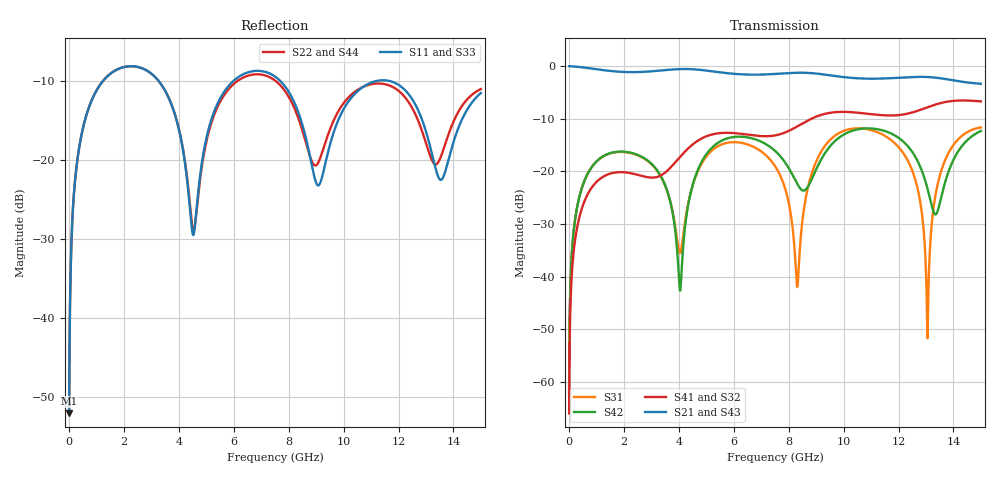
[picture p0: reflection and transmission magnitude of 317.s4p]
! Created with skrf 1.8.0 (http://scikit-rf.org).
# GHz S RI R 50.0
!freq ReS11 ImS11 ReS12 ImS12 ReS13 ImS13
! ReS14 ImS14
! ReS21 ImS21 ReS22 ImS22 ReS23 ImS23
! ReS24 ImS24
! ReS31 ImS31 ReS32 ImS32 ReS33 ImS33
! ReS34 ImS34
! ReS41 ImS41 ReS42 ImS42 ReS43 ImS43
! ReS44 ImS44
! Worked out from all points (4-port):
!   2499 points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, 5 MHz to 15 GHz, reference 50 ohm
!   strongest paths, dB at 5 MHz, 3.476 GHz, 7.19 GHz, 11.1 GHz, 15 GHz:
!     S21: 0.0, -0.8, -1.6, -2.4, -3.4
!     S43: 0.0, -0.8, -1.6, -2.4, -3.4
!     S41: -66.0, -20.3, -13.3, -9.2, -6.7
!     S32: -66.0, -20.3, -13.3, -9.2, -6.7
!     S42: -62.0, -22.3, -14.9, -11.9, -12.3
!     S31: -62.0, -22.4, -17.0, -12.3, -11.7
!   lowest |S11| = -52.1 dB at 5 MHz (marker M1), VSWR 1.00, Z = 50.2 + j0.151 ohm
!   |S11| at or under -10 dB: 3.273 GHz to 5.977 GHz (2.704 GHz wide, 58.5 % of centre); 7.705 GHz to 11.16 GHz (3.45 GHz wide, 36.6 % of centre); 11.71 GHz to end of sweep (the widest 3 of 4)
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0.005  0.00198 0.0015  0.998 -0.00385  0.000101 0.000787  -9.76e-05 -0.000494
       0.998 -0.00385  0.00198 0.0015  -9.76e-05 -0.000494  0.000101 0.000787
       0.000101 0.000787  -9.76e-05 -0.000494  0.00198 0.0015  0.998 -0.00385
       -9.76e-05 -0.000494  0.000101 0.000787  0.998 -0.00385  0.00198 0.0015
1.269279  0.2679 0.1791  0.5562 -0.7244  0.1248 0.0631  -0.0894 -0.00757
          0.5562 -0.7244  0.2672 0.1796  -0.0894 -0.00759  0.1266 0.0606
          0.1248 0.0631  -0.0894 -0.00759  0.2679 0.1791  0.5562 -0.7244
          -0.0894 -0.00757  0.1266 0.0606  0.5562 -0.7244  0.2672 0.1796
4.041364  0.0742 -0.1258  -0.8529 -0.3856  -0.0161 -0.00454  -0.0527 0.1264
          -0.8529 -0.3856  0.0773 -0.1258  -0.0526 0.1264  -0.00712 -0.00197
          -0.0161 -0.00454  -0.0526 0.1264  0.0751 -0.1253  -0.8529 -0.3855
          -0.0527 0.1264  -0.00712 -0.00197  -0.8529 -0.3855  0.0763 -0.1261
6.996665  0.3646 -0.0424  -0.0135 0.8303  0.1482 -0.0449  0.207 -0.063
          -0.0135 0.8303  0.3478 -0.024  0.2066 -0.0623  0.1527 -0.1157
          0.1482 -0.0449  0.2066 -0.0623  0.3651 -0.0448  -0.0134 0.8302
          0.207 -0.063  0.1527 -0.1157  -0.0134 0.8302  0.348 -0.0216
11.77991  0.3035 -0.0788  -0.00766 -0.7691  0.1725 -0.0879  -0.3297 0.0809
          -0.00766 -0.7691  0.2818 -0.074  -0.3285 0.079  0.1701 -0.148
          0.1725 -0.0879  -0.3285 0.079  0.3084 -0.0846  -0.00772 -0.7674
          -0.3297 0.0809  0.1701 -0.148  -0.00772 -0.7674  0.2864 -0.0687
13.05544  0.1031 -0.0962  -0.6196 -0.4857  0.00255 0.000522  -0.2376 0.3295
          -0.6196 -0.4857  0.1063 -0.0548  -0.2395 0.3277  -0.0383 -0.0569
          0.00255 0.000522  -0.2395 0.3277  0.1031 -0.1035  -0.6184 -0.4859
          -0.2376 0.3295  -0.0383 -0.0569  -0.6184 -0.4859  0.1136 -0.0554
15  0.2518 0.0874  -0.5497 0.3997  0.2524 0.0674  0.3444 0.3076
    -0.5497 0.3997  0.2755 0.061  0.3432 0.3079  0.24 0.032
    0.2524 0.0674  0.3432 0.3079  0.2543 0.0859  -0.5489 0.4002
    0.3444 0.3076  0.24 0.032  -0.5489 0.4002  0.2755 0.0623
